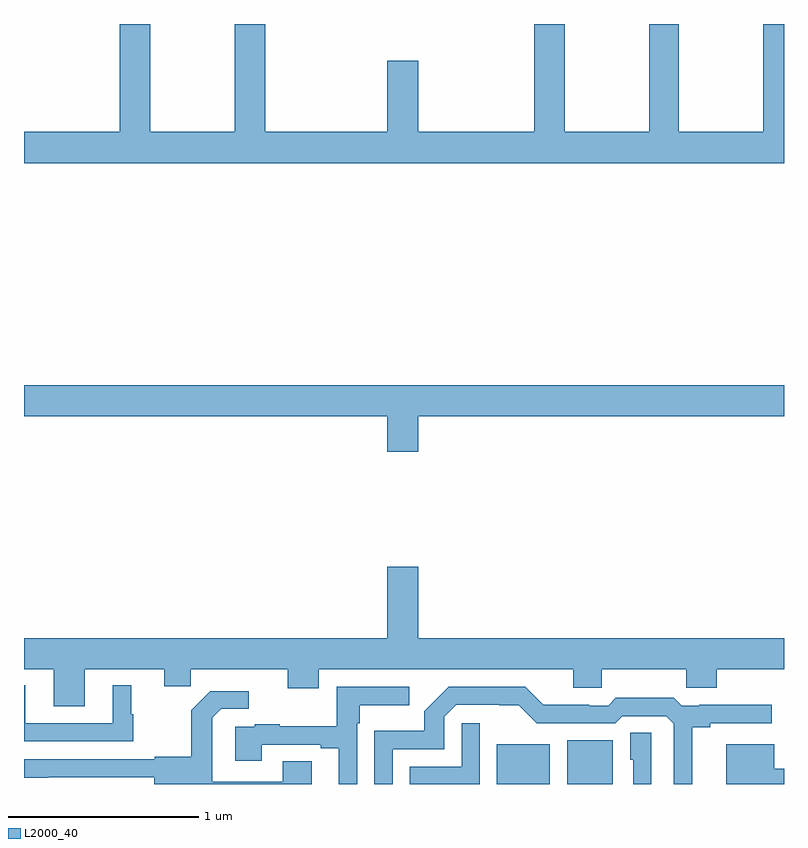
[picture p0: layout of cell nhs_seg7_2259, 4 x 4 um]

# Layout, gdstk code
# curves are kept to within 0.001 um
import gdstk
lib = gdstk.Library(unit=1e-6, precision=1e-09)
def R(c, l, rs):  # rectangles x0, y0, x1, y1
    for r in rs: c.add(gdstk.rectangle(r[:2], r[2:], *l))
def P(c, l, *ps):  # polygons
    for p in ps: c.add(gdstk.Polygon(p, *l))
L2000_40 = (2000, 40)

nhs_seg7_2259 = lib.new_cell('nhs_seg7_2259')
R(nhs_seg7_2259, L2000_40, [(261.488,1012,261.766,1012.21), (261.86,1012,262.099,1012.231)])
P(nhs_seg7_2259, L2000_40, [(263,1016),(262.891,1016),(262.891,1015.432),(262.446,1015.432),(262.446,1016),(262.291,1016),(262.291,1015.432),(261.846,1015.432),(261.846,1016),(261.686,1016),(261.686,1015.432),(261.076,1015.432),(261.076,1015.807),(260.912,1015.807),(260.912,1015.432),(260.27,1015.432),(260.27,1016),(260.11,1016),(260.11,1015.432),(259.665,1015.432),(259.665,1016),(259.505,1016),(259.505,1015.432),(259,1015.432),(259,1015.268),(263,1015.268)],
  [(261.076,1013.936),(263,1013.936),(263,1014.1),(259,1014.1),(259,1013.936),(260.912,1013.936),(260.912,1013.748),(261.076,1013.748)],
  [(259.321,1012.604),(259.739,1012.604),(259.739,1012.514),(259.877,1012.514),(259.877,1012.604),(260.387,1012.604),(260.387,1012.505),(260.551,1012.505),(260.551,1012.604),(261.89,1012.604),(261.89,1012.506),(262.041,1012.506),(262.041,1012.604),(262.486,1012.604),(262.486,1012.506),(262.646,1012.506),(262.646,1012.604),(263,1012.604),(263,1012.768),(261.076,1012.768),(261.076,1013.143),(260.912,1013.143),(260.912,1012.768),(259,1012.768),(259,1012.604),(259.157,1012.604),(259.157,1012.41),(259.321,1012.41)],
  [(259.576,1012.368),(259.564,1012.368),(259.564,1012.519),(259.466,1012.519),(259.466,1012.32),(259.006,1012.32),(259.006,1012.519),(259,1012.519),(259,1012.224),(259.576,1012.224)],
  [(260.754,1012.319),(260.767,1012.319),(260.767,1012.415),(261.028,1012.415),(261.028,1012.512),(260.646,1012.512),(260.646,1012.304),(260.347,1012.304),(260.347,1012.315),(260.215,1012.315),(260.215,1012.302),(260.111,1012.302),(260.111,1012.122),(260.251,1012.122),(260.251,1012.206),(260.561,1012.206),(260.561,1012.188),(260.657,1012.188),(260.657,1012),(260.754,1012)],
  [(260.94,1012.182),(261.213,1012.182),(261.213,1012.353),(261.276,1012.416),(261.605,1012.415),(261.699,1012.32),(262.113,1012.32),(262.149,1012.356),(262.38,1012.356),(262.419,1012.317),(262.419,1012),(262.517,1012),(262.517,1012.298),(262.612,1012.298),(262.612,1012.32),(262.936,1012.32),(262.936,1012.418),(262.555,1012.418),(262.555,1012.413),(262.461,1012.413),(262.421,1012.453),(262.114,1012.453),(262.074,1012.413),(261.974,1012.413),(261.974,1012.418),(261.734,1012.418),(261.639,1012.512),(261.236,1012.512),(261.106,1012.382),(261.106,1012.279),(260.844,1012.279),(260.844,1012),(260.94,1012)],
  [(260.515,1012.121),(260.363,1012.121),(260.363,1012.012),(259.992,1012.012),(259.992,1012.253),(259.99,1012.253),(259.99,1012.348),(260.037,1012.395),(260.182,1012.395),(260.182,1012.489),(259.981,1012.489),(259.881,1012.389),(259.881,1012.144),(259.689,1012.144),(259.689,1012.131),(259,1012.131),(259,1012.034),(259.685,1012.035),(259.685,1012),(260.515,1012)],
  [(261.399,1012.321),(261.303,1012.321),(261.303,1012.092),(261.03,1012.092),(261.03,1012),(261.399,1012)],
  [(262.302,1012.271),(262.19,1012.271),(262.19,1012.128),(262.206,1012.128),(262.206,1012),(262.302,1012)],
  [(263,1012.081),(262.948,1012.081),(262.948,1012.21),(262.697,1012.21),(262.697,1012),(263,1012)])

lib.write_gds('nhs_seg7_2259.gds')
